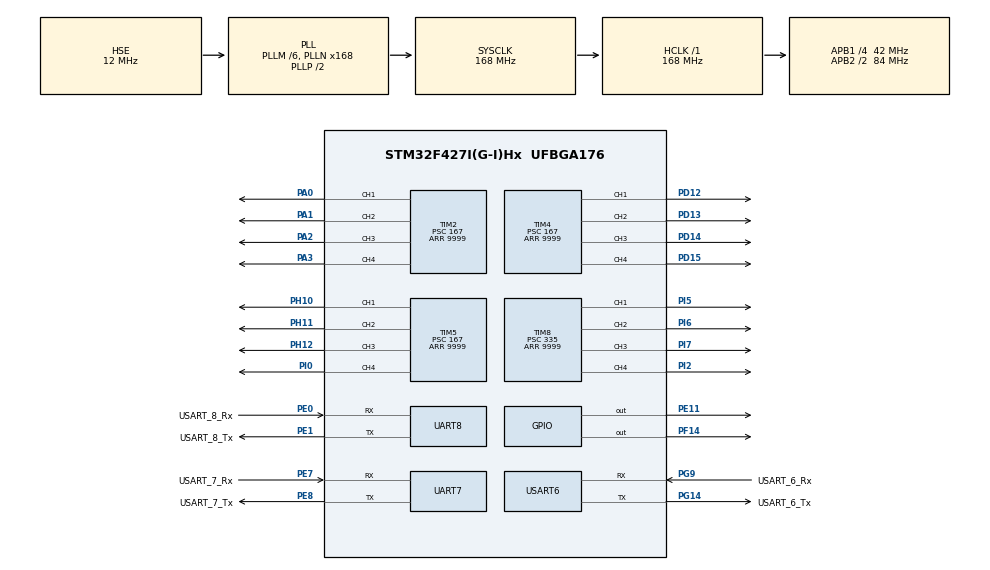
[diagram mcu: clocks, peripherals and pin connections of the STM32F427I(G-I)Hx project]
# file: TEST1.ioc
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Mcu.Family=STM32F4
Mcu.Name=STM32F427I(G-I)Hx
Mcu.Package=UFBGA176
NVIC.PriorityGroup=NVIC_PRIORITYGROUP_4
PA0/WKUP.Signal=S_TIM2_CH1_ETR
PA1.Signal=S_TIM2_CH2
PA2.Signal=S_TIM2_CH3
PA3.Signal=S_TIM2_CH4
PD12.Signal=S_TIM4_CH1
PD13.Signal=S_TIM4_CH2
PD14.Signal=S_TIM4_CH3
PD15.Signal=S_TIM4_CH4
PE0.GPIO_Label=USART_8_Rx
PE0.Mode=Asynchronous
PE0.Signal=UART8_RX
PE1.GPIO_Label=USART_8_Tx
PE1.Mode=Asynchronous
PE1.Signal=UART8_TX
PE11.Signal=GPIO_Output
PE7.GPIO_Label=USART_7_Rx
PE7.Mode=Asynchronous
PE7.Signal=UART7_RX
PE8.GPIO_Label=USART_7_Tx
PE8.Mode=Asynchronous
PE8.Signal=UART7_TX
PF14.Signal=GPIO_Output
PG14.GPIO_Label=USART_6_Tx
PG14.Mode=Asynchronous
PG14.Signal=USART6_TX
PG9.GPIO_Label=USART_6_Rx
PG9.Mode=Asynchronous
PG9.Signal=USART6_RX
PH0/OSC_IN.Mode=HSE-External-Oscillator
PH0/OSC_IN.Signal=RCC_OSC_IN
PH1/OSC_OUT.Mode=HSE-External-Oscillator
PH1/OSC_OUT.Signal=RCC_OSC_OUT
PH10.Signal=S_TIM5_CH1
PH11.Signal=S_TIM5_CH2
PH12.Signal=S_TIM5_CH3
PI0.Signal=S_TIM5_CH4
PI2.Signal=S_TIM8_CH4
PI5.Signal=S_TIM8_CH1
PI6.Signal=S_TIM8_CH2
PI7.Signal=S_TIM8_CH3
ProjectManager.HeapSize=0x200
ProjectManager.StackSize=0x400
ProjectManager.TargetToolchain=MDK-ARM V5
RCC.48MHZClocksFreq_Value=84000000
RCC.AHBFreq_Value=168000000
RCC.APB1CLKDivider=RCC_HCLK_DIV4
RCC.APB1Freq_Value=42000000
RCC.APB1TimFreq_Value=84000000
RCC.APB2CLKDivider=RCC_HCLK_DIV2
RCC.APB2Freq_Value=84000000
RCC.APB2TimFreq_Value=168000000
RCC.CortexFreq_Value=168000000
RCC.HCLKFreq_Value=168000000
RCC.HSE_VALUE=12000000
RCC.HSI_VALUE=16000000
RCC.LSE_VALUE=32768
RCC.PLLM=6
RCC.PLLN=168
RCC.PLLSourceVirtual=RCC_PLLSOURCE_HSE
RCC.SYSCLKFreq_VALUE=168000000
RCC.SYSCLKSource=RCC_SYSCLKSOURCE_PLLCLK
RCC.VCOOutputFreq_Value=336000000
SH.S_TIM2_CH1_ETR.0=TIM2_CH1,PWM Generation1 CH1
SH.S_TIM2_CH2.0=TIM2_CH2,PWM Generation2 CH2
SH.S_TIM2_CH3.0=TIM2_CH3,PWM Generation3 CH3
SH.S_TIM2_CH4.0=TIM2_CH4,PWM Generation4 CH4
SH.S_TIM4_CH1.0=TIM4_CH1,PWM Generation1 CH1
SH.S_TIM4_CH2.0=TIM4_CH2,PWM Generation2 CH2
SH.S_TIM4_CH3.0=TIM4_CH3,PWM Generation3 CH3
SH.S_TIM4_CH4.0=TIM4_CH4,PWM Generation4 CH4
SH.S_TIM5_CH1.0=TIM5_CH1,PWM Generation1 CH1
SH.S_TIM5_CH2.0=TIM5_CH2,PWM Generation2 CH2
SH.S_TIM5_CH3.0=TIM5_CH3,PWM Generation3 CH3
SH.S_TIM5_CH4.0=TIM5_CH4,PWM Generation4 CH4
SH.S_TIM8_CH1.0=TIM8_CH1,PWM Generation1 CH1
SH.S_TIM8_CH2.0=TIM8_CH2,PWM Generation2 CH2
SH.S_TIM8_CH3.0=TIM8_CH3,PWM Generation3 CH3
SH.S_TIM8_CH4.0=TIM8_CH4,PWM Generation4 CH4
TIM2.Channel-PWM\ Generation1\ CH1=TIM_CHANNEL_1
TIM2.Channel-PWM\ Generation2\ CH2=TIM_CHANNEL_2
TIM2.Channel-PWM\ Generation3\ CH3=TIM_CHANNEL_3
TIM2.Channel-PWM\ Generation4\ CH4=TIM_CHANNEL_4
TIM2.Period=9999
TIM2.Prescaler=167
TIM2.Pulse-PWM\ Generation1\ CH1=5000
TIM2.Pulse-PWM\ Generation2\ CH2=5000
TIM2.Pulse-PWM\ Generation3\ CH3=5000
TIM2.Pulse-PWM\ Generation4\ CH4=5000
TIM4.Channel-PWM\ Generation1\ CH1=TIM_CHANNEL_1
TIM4.Channel-PWM\ Generation2\ CH2=TIM_CHANNEL_2
TIM4.Channel-PWM\ Generation3\ CH3=TIM_CHANNEL_3
TIM4.Channel-PWM\ Generation4\ CH4=TIM_CHANNEL_4
TIM4.Period=9999
TIM4.Prescaler=167
TIM4.Pulse-PWM\ Generation1\ CH1=5000
TIM4.Pulse-PWM\ Generation2\ CH2=5000
TIM4.Pulse-PWM\ Generation3\ CH3=5000
TIM4.Pulse-PWM\ Generation4\ CH4=5000
TIM5.Channel-PWM\ Generation1\ CH1=TIM_CHANNEL_1
TIM5.Channel-PWM\ Generation2\ CH2=TIM_CHANNEL_2
TIM5.Channel-PWM\ Generation3\ CH3=TIM_CHANNEL_3
TIM5.Channel-PWM\ Generation4\ CH4=TIM_CHANNEL_4
TIM5.Period=9999
TIM5.Prescaler=167
TIM5.Pulse-PWM\ Generation1\ CH1=5000
TIM5.Pulse-PWM\ Generation2\ CH2=5000
TIM5.Pulse-PWM\ Generation3\ CH3=5000
TIM5.Pulse-PWM\ Generation4\ CH4=5000
TIM8.Channel-PWM\ Generation1\ CH1=TIM_CHANNEL_1
TIM8.Channel-PWM\ Generation2\ CH2=TIM_CHANNEL_2
TIM8.Channel-PWM\ Generation3\ CH3=TIM_CHANNEL_3
TIM8.Channel-PWM\ Generation4\ CH4=TIM_CHANNEL_4
TIM8.OCPolarity_1=TIM_OCPOLARITY_LOW
TIM8.OCPolarity_2=TIM_OCPOLARITY_LOW
TIM8.OCPolarity_3=TIM_OCPOLARITY_LOW
TIM8.OCPolarity_4=TIM_OCPOLARITY_LOW
TIM8.Period=9999
TIM8.Prescaler=335
TIM8.Pulse-PWM\ Generation1\ CH1=5000
TIM8.Pulse-PWM\ Generation2\ CH2=5000
TIM8.Pulse-PWM\ Generation3\ CH3=5000
TIM8.Pulse-PWM\ Generation4\ CH4=5000
UART7.VirtualMode=Asynchronous
UART8.VirtualMode=Asynchronous
USART6.VirtualMode=VM_ASYNC
board=custom

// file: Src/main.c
/* USER CODE BEGIN Header */
/**
  ******************************************************************************
  * @file           : main.c
  * @brief          : Main program body
  ******************************************************************************
  ** This notice applies to any and all portions of this file
  * that are not between comment pairs USER CODE BEGIN and
  * USER CODE END. Other portions of this file, whether
  * inserted by the user or by software development tools
  * are owned by their respective copyright owners.
  *
  * COPYRIGHT(c) 2018 STMicroelectronics
  *
  * Redistribution and use in source and binary forms, with or without modification,
  * are permitted provided that the following conditions are met:
  *   1. Redistributions of source code must retain the above copyright notice,
  *      this list of conditions and the following disclaimer.
  *   2. Redistributions in binary form must reproduce the above copyright notice,
  *      this list of conditions and the following disclaimer in the documentation
  *      and/or other materials provided with the distribution.
  *   3. Neither the name of STMicroelectronics nor the names of its contributors
  *      may be used to endorse or promote products derived from this software
  *      without specific prior written permission.
  *
  * THIS SOFTWARE IS PROVIDED BY THE COPYRIGHT HOLDERS AND CONTRIBUTORS "AS IS"
  * AND ANY EXPRESS OR IMPLIED WARRANTIES, INCLUDING, BUT NOT LIMITED TO, THE
  * IMPLIED WARRANTIES OF MERCHANTABILITY AND FITNESS FOR A PARTICULAR PURPOSE ARE
  * DISCLAIMED. IN NO EVENT SHALL THE COPYRIGHT HOLDER OR CONTRIBUTORS BE LIABLE
  * FOR ANY DIRECT, INDIRECT, INCIDENTAL, SPECIAL, EXEMPLARY, OR CONSEQUENTIAL
  * DAMAGES (INCLUDING, BUT NOT LIMITED TO, PROCUREMENT OF SUBSTITUTE GOODS OR
  * SERVICES; LOSS OF USE, DATA, OR PROFITS; OR BUSINESS INTERRUPTION) HOWEVER
  * CAUSED AND ON ANY THEORY OF LIABILITY, WHETHER IN CONTRACT, STRICT LIABILITY,
  * OR TORT (INCLUDING NEGLIGENCE OR OTHERWISE) ARISING IN ANY WAY OUT OF THE USE
  * OF THIS SOFTWARE, EVEN IF ADVISED OF THE POSSIBILITY OF SUCH DAMAGE.
  *
  ******************************************************************************
  */
/* USER CODE END Header */

#include "main.h"

TIM_HandleTypeDef htim2;
TIM_HandleTypeDef htim4;
TIM_HandleTypeDef htim5;
TIM_HandleTypeDef htim8;

UART_HandleTypeDef huart7;
UART_HandleTypeDef huart8;
UART_HandleTypeDef huart6;

void SystemClock_Config(void);
static void MX_GPIO_Init(void);
static void MX_TIM2_Init(void);
static void MX_TIM4_Init(void);
static void MX_TIM5_Init(void);
static void MX_TIM8_Init(void);
static void MX_USART6_UART_Init(void);
static void MX_UART8_Init(void);
static void MX_UART7_Init(void);

/* USER CODE BEGIN 0 */
void PWM_SetDuty(TIM_HandleTypeDef *tim,uint32_t tim_channel,float duty){

	switch(tim_channel){
		case TIM_CHANNEL_1: tim->Instance->CCR1 = (10000*duty) - 1;break;
		case TIM_CHANNEL_2: tim->Instance->CCR2 = (10000*duty) - 1;break;
		case TIM_CHANNEL_3: tim->Instance->CCR3 = (10000*duty) - 1;break;
		case TIM_CHANNEL_4: tim->Instance->CCR4 = (10000*duty) - 1;break;
	}}

/* USER CODE END 0 */

int main(void)
{

  /* MCU Configuration--------------------------------------------------------*/

  /* Reset of all peripherals, Initializes the Flash interface and the Systick. */
  HAL_Init();

  /* Configure the system clock */
  SystemClock_Config();

  /* Initialize all configured peripherals */
  MX_GPIO_Init();
  MX_TIM2_Init();
  MX_TIM4_Init();
  MX_TIM5_Init();
  MX_TIM8_Init();
  MX_USART6_UART_Init();
  MX_UART8_Init();
  MX_UART7_Init();
  /* USER CODE BEGIN 2 */

	/* Open 4 sets of PWM waves respectively */
		/**TIM2 GPIO Configuration
	PA1     ------> TIM2_CH2
	PA0     ------> TIM2_CH1
	PA2     ------> TIM2_CH3
	PA3     ------> TIM2_CH4
	*/

	HAL_TIM_PWM_Start(&htim2,TIM_CHANNEL_1);
	HAL_TIM_PWM_Start(&htim2,TIM_CHANNEL_2);
	HAL_TIM_PWM_Start(&htim2,TIM_CHANNEL_3);
	HAL_TIM_PWM_Start(&htim2,TIM_CHANNEL_4);

	PWM_SetDuty(&htim2,TIM_CHANNEL_1,0.50);
	PWM_SetDuty(&htim2,TIM_CHANNEL_2,0.50);
	PWM_SetDuty(&htim2,TIM_CHANNEL_3,0.50);
	PWM_SetDuty(&htim2,TIM_CHANNEL_4,0.50);

	/**TIM4 GPIO Configuration
	PD15     ------> TIM4_CH4
	PD14     ------> TIM4_CH3
	PD13     ------> TIM4_CH2
	PD12     ------> TIM4_CH1
	*/
	HAL_TIM_PWM_Start(&htim4,TIM_CHANNEL_1);
	HAL_TIM_PWM_Start(&htim4,TIM_CHANNEL_2);
	HAL_TIM_PWM_Start(&htim4,TIM_CHANNEL_3);
	HAL_TIM_PWM_Start(&htim4,TIM_CHANNEL_4);

	PWM_SetDuty(&htim4,TIM_CHANNEL_1,0.50);
	PWM_SetDuty(&htim4,TIM_CHANNEL_2,0.50);
	PWM_SetDuty(&htim4,TIM_CHANNEL_3,0.50);
	PWM_SetDuty(&htim4,TIM_CHANNEL_4,0.50);

	/**TIM5 GPIO Configuration
	PI0     ------> TIM5_CH4
	PH12     ------> TIM5_CH3
	PH11     ------> TIM5_CH2
	PH10     ------> TIM5_CH1
	*/

	HAL_TIM_PWM_Start(&htim5,TIM_CHANNEL_1);
	HAL_TIM_PWM_Start(&htim5,TIM_CHANNEL_2);
	HAL_TIM_PWM_Start(&htim5,TIM_CHANNEL_3);
	HAL_TIM_PWM_Start(&htim5,TIM_CHANNEL_4);

	PWM_SetDuty(&htim5,TIM_CHANNEL_1,0.50);
	PWM_SetDuty(&htim5,TIM_CHANNEL_2,0.50);
	PWM_SetDuty(&htim5,TIM_CHANNEL_3,0.50);
	PWM_SetDuty(&htim5,TIM_CHANNEL_4,0.50);

	/**TIM8 GPIO Configuration
	PI7     ------> TIM8_CH3
	PI6     ------> TIM8_CH2
	PI5     ------> TIM8_CH1
	PI2     ------> TIM8_CH4
	*/

	HAL_TIM_PWM_Start(&htim8,TIM_CHANNEL_1);
	HAL_TIM_PWM_Start(&htim8,TIM_CHANNEL_2);
	HAL_TIM_PWM_Start(&htim8,TIM_CHANNEL_3);
	HAL_TIM_PWM_Start(&htim8,TIM_CHANNEL_4);

	PWM_SetDuty(&htim8,TIM_CHANNEL_1,0.50);
	PWM_SetDuty(&htim8,TIM_CHANNEL_2,0.50);
	PWM_SetDuty(&htim8,TIM_CHANNEL_3,0.50);
	PWM_SetDuty(&htim8,TIM_CHANNEL_4,0.0);

//	char w = 13;

//
//	HAL_TIM_PWM_Start(&htim2,TIM_CHANNEL_1);
//	HAL_TIM_PWM_Start(&htim2,TIM_CHANNEL_2);
//	HAL_TIM_PWM_Start(&htim2,TIM_CHANNEL_3);
//	HAL_TIM_PWM_Start(&htim2,TIM_CHANNEL_4);
//

  /* USER CODE END 2 */

  /* Infinite loop */
  while (1)
	{

    /* USER CODE BEGIN 3 */

		uint8_t Re[16];
		HAL_UART_Receive(&huart8, Re, 16, 0xffff);                  //串口8获取Openmv角度数据
		uint8_t *p = Re;

/*     **********                        字符串解析                        **********     */

		float angle = 0.0;    //初始化角度
		while ( *p != '#' )                                                    //找到第一个#
			p++;
		p++;

		while ( *p != '.' )                                                    //跳过小数点
			{
				angle = angle*10 + *p - '0';                                   //整数位累加
				p++;
			}
		p++;
		float power = 0.1;                                                     //小数位累加
		while ( *p != '#' )                                                    //找到$的时候停止
		{
			angle = angle + ( *p - '0' ) * power ;
			p++;
			power = power *0.1f;
		}

		sprintf(buf,"%9.6f\n", angle);                                          //格式化输出
		HAL_UART_Transmit(&huart7, (uint8_t *)buf,  9, 0xffff);                 //串口7发送数据

/***************************                                       字符串解析完毕                                       ***************************/

//

  }
  /* USER CODE END 3 */
}

void SystemClock_Config(void)
{
  RCC_OscInitTypeDef RCC_OscInitStruct = {0};
  RCC_ClkInitTypeDef RCC_ClkInitStruct = {0};

  /**Configure the main internal regulator output voltage
  */
  __HAL_RCC_PWR_CLK_ENABLE();
  __HAL_PWR_VOLTAGESCALING_CONFIG(PWR_REGULATOR_VOLTAGE_SCALE1);
  /**Initializes the CPU, AHB and APB busses clocks
  */
  RCC_OscInitStruct.OscillatorType = RCC_OSCILLATORTYPE_HSE;
  RCC_OscInitStruct.HSEState = RCC_HSE_ON;
  RCC_OscInitStruct.PLL.PLLState = RCC_PLL_ON;
  RCC_OscInitStruct.PLL.PLLSource = RCC_PLLSOURCE_HSE;
  RCC_OscInitStruct.PLL.PLLM = 6;
  RCC_OscInitStruct.PLL.PLLN = 168;
  RCC_OscInitStruct.PLL.PLLP = RCC_PLLP_DIV2;
  RCC_OscInitStruct.PLL.PLLQ = 4;
  if (HAL_RCC_OscConfig(&RCC_OscInitStruct) != HAL_OK)
  {
    Error_Handler();
  }
  /**Initializes the CPU, AHB and APB busses clocks
  */
  RCC_ClkInitStruct.ClockType = RCC_CLOCKTYPE_HCLK|RCC_CLOCKTYPE_SYSCLK
                              |RCC_CLOCKTYPE_PCLK1|RCC_CLOCKTYPE_PCLK2;
  RCC_ClkInitStruct.SYSCLKSource = RCC_SYSCLKSOURCE_PLLCLK;
  RCC_ClkInitStruct.AHBCLKDivider = RCC_SYSCLK_DIV1;
  RCC_ClkInitStruct.APB1CLKDivider = RCC_HCLK_DIV4;
  RCC_ClkInitStruct.APB2CLKDivider = RCC_HCLK_DIV2;

  if (HAL_RCC_ClockConfig(&RCC_ClkInitStruct, FLASH_LATENCY_5) != HAL_OK)
  {
    Error_Handler();
  }
}

static void MX_TIM2_Init(void)
{

  TIM_MasterConfigTypeDef sMasterConfig = {0};
  TIM_OC_InitTypeDef sConfigOC = {0};

  htim2.Instance = TIM2;
  htim2.Init.Prescaler = 167;
  htim2.Init.CounterMode = TIM_COUNTERMODE_UP;
  htim2.Init.Period = 9999;
  htim2.Init.ClockDivision = TIM_CLOCKDIVISION_DIV1;
  if (HAL_TIM_PWM_Init(&htim2) != HAL_OK)
  {
    Error_Handler();
  }
  sMasterConfig.MasterOutputTrigger = TIM_TRGO_RESET;
  sMasterConfig.MasterSlaveMode = TIM_MASTERSLAVEMODE_DISABLE;
  if (HAL_TIMEx_MasterConfigSynchronization(&htim2, &sMasterConfig) != HAL_OK)
  {
    Error_Handler();
  }
  sConfigOC.OCMode = TIM_OCMODE_PWM1;
  sConfigOC.Pulse = 5000;
  sConfigOC.OCPolarity = TIM_OCPOLARITY_HIGH;
  sConfigOC.OCFastMode = TIM_OCFAST_DISABLE;
  if (HAL_TIM_PWM_ConfigChannel(&htim2, &sConfigOC, TIM_CHANNEL_1) != HAL_OK)
  {
    Error_Handler();
  }
  if (HAL_TIM_PWM_ConfigChannel(&htim2, &sConfigOC, TIM_CHANNEL_2) != HAL_OK)
  {
    Error_Handler();
  }
  if (HAL_TIM_PWM_ConfigChannel(&htim2, &sConfigOC, TIM_CHANNEL_3) != HAL_OK)
  {
    Error_Handler();
  }
  if (HAL_TIM_PWM_ConfigChannel(&htim2, &sConfigOC, TIM_CHANNEL_4) != HAL_OK)
  {
    Error_Handler();
  }
  HAL_TIM_MspPostInit(&htim2);

}

static void MX_TIM4_Init(void)
{

  TIM_MasterConfigTypeDef sMasterConfig = {0};
  TIM_OC_InitTypeDef sConfigOC = {0};

  htim4.Instance = TIM4;
  htim4.Init.Prescaler = 167;
  htim4.Init.CounterMode = TIM_COUNTERMODE_UP;
  htim4.Init.Period = 9999;
  htim4.Init.ClockDivision = TIM_CLOCKDIVISION_DIV1;
  if (HAL_TIM_PWM_Init(&htim4) != HAL_OK)
  {
    Error_Handler();
  }
  sMasterConfig.MasterOutputTrigger = TIM_TRGO_RESET;
  sMasterConfig.MasterSlaveMode = TIM_MASTERSLAVEMODE_DISABLE;
  if (HAL_TIMEx_MasterConfigSynchronization(&htim4, &sMasterConfig) != HAL_OK)
  {
    Error_Handler();
  }
  sConfigOC.OCMode = TIM_OCMODE_PWM1;
  sConfigOC.Pulse = 5000;
  sConfigOC.OCPolarity = TIM_OCPOLARITY_HIGH;
  sConfigOC.OCFastMode = TIM_OCFAST_DISABLE;
  if (HAL_TIM_PWM_ConfigChannel(&htim4, &sConfigOC, TIM_CHANNEL_1) != HAL_OK)
  {
    Error_Handler();
  }
  if (HAL_TIM_PWM_ConfigChannel(&htim4, &sConfigOC, TIM_CHANNEL_2) != HAL_OK)
  {
    Error_Handler();
  }
  if (HAL_TIM_PWM_ConfigChannel(&htim4, &sConfigOC, TIM_CHANNEL_3) != HAL_OK)
  {
    Error_Handler();
  }
  if (HAL_TIM_PWM_ConfigChannel(&htim4, &sConfigOC, TIM_CHANNEL_4) != HAL_OK)
  {
    Error_Handler();
  }
  HAL_TIM_MspPostInit(&htim4);

}

static void MX_TIM5_Init(void)
{

  TIM_MasterConfigTypeDef sMasterConfig = {0};
  TIM_OC_InitTypeDef sConfigOC = {0};

  htim5.Instance = TIM5;
  htim5.Init.Prescaler = 167;
  htim5.Init.CounterMode = TIM_COUNTERMODE_UP;
  htim5.Init.Period = 9999;
  htim5.Init.ClockDivision = TIM_CLOCKDIVISION_DIV1;
  if (HAL_TIM_PWM_Init(&htim5) != HAL_OK)
  {
    Error_Handler();
  }
  sMasterConfig.MasterOutputTrigger = TIM_TRGO_RESET;
  sMasterConfig.MasterSlaveMode = TIM_MASTERSLAVEMODE_DISABLE;
  if (HAL_TIMEx_MasterConfigSynchronization(&htim5, &sMasterConfig) != HAL_OK)
  {
    Error_Handler();
  }
  sConfigOC.OCMode = TIM_OCMODE_PWM1;
  sConfigOC.Pulse = 5000;
  sConfigOC.OCPolarity = TIM_OCPOLARITY_HIGH;
  sConfigOC.OCFastMode = TIM_OCFAST_DISABLE;
  if (HAL_TIM_PWM_ConfigChannel(&htim5, &sConfigOC, TIM_CHANNEL_1) != HAL_OK)
  {
    Error_Handler();
  }
  if (HAL_TIM_PWM_ConfigChannel(&htim5, &sConfigOC, TIM_CHANNEL_2) != HAL_OK)
  {
    Error_Handler();
  }
  if (HAL_TIM_PWM_ConfigChannel(&htim5, &sConfigOC, TIM_CHANNEL_3) != HAL_OK)
  {
    Error_Handler();
  }
  if (HAL_TIM_PWM_ConfigChannel(&htim5, &sConfigOC, TIM_CHANNEL_4) != HAL_OK)
  {
    Error_Handler();
  }
  HAL_TIM_MspPostInit(&htim5);

}

static void MX_TIM8_Init(void)
{

  TIM_MasterConfigTypeDef sMasterConfig = {0};
  TIM_OC_InitTypeDef sConfigOC = {0};
  TIM_BreakDeadTimeConfigTypeDef sBreakDeadTimeConfig = {0};

  htim8.Instance = TIM8;
  htim8.Init.Prescaler = 335;
  htim8.Init.CounterMode = TIM_COUNTERMODE_UP;
  htim8.Init.Period = 9999;
  htim8.Init.ClockDivision = TIM_CLOCKDIVISION_DIV1;
  htim8.Init.RepetitionCounter = 0;
  if (HAL_TIM_PWM_Init(&htim8) != HAL_OK)
  {
    Error_Handler();
  }
  sMasterConfig.MasterOutputTrigger = TIM_TRGO_RESET;
  sMasterConfig.MasterSlaveMode = TIM_MASTERSLAVEMODE_DISABLE;
  if (HAL_TIMEx_MasterConfigSynchronization(&htim8, &sMasterConfig) != HAL_OK)
  {
    Error_Handler();
  }
  sConfigOC.OCMode = TIM_OCMODE_PWM1;
  sConfigOC.Pulse = 5000;
  sConfigOC.OCPolarity = TIM_OCPOLARITY_LOW;
  sConfigOC.OCNPolarity = TIM_OCNPOLARITY_HIGH;
  sConfigOC.OCFastMode = TIM_OCFAST_DISABLE;
  sConfigOC.OCIdleState = TIM_OCIDLESTATE_RESET;
  sConfigOC.OCNIdleState = TIM_OCNIDLESTATE_RESET;
  if (HAL_TIM_PWM_ConfigChannel(&htim8, &sConfigOC, TIM_CHANNEL_1) != HAL_OK)
  {
    Error_Handler();
  }
  if (HAL_TIM_PWM_ConfigChannel(&htim8, &sConfigOC, TIM_CHANNEL_2) != HAL_OK)
  {
    Error_Handler();
  }
  if (HAL_TIM_PWM_ConfigChannel(&htim8, &sConfigOC, TIM_CHANNEL_3) != HAL_OK)
  {
    Error_Handler();
  }
  if (HAL_TIM_PWM_ConfigChannel(&htim8, &sConfigOC, TIM_CHANNEL_4) != HAL_OK)
  {
    Error_Handler();
  }
  sBreakDeadTimeConfig.OffStateRunMode = TIM_OSSR_DISABLE;
  sBreakDeadTimeConfig.OffStateIDLEMode = TIM_OSSI_DISABLE;
  sBreakDeadTimeConfig.LockLevel = TIM_LOCKLEVEL_OFF;
  sBreakDeadTimeConfig.DeadTime = 0;
  sBreakDeadTimeConfig.BreakState = TIM_BREAK_DISABLE;
  sBreakDeadTimeConfig.BreakPolarity = TIM_BREAKPOLARITY_HIGH;
  sBreakDeadTimeConfig.AutomaticOutput = TIM_AUTOMATICOUTPUT_DISABLE;
  if (HAL_TIMEx_ConfigBreakDeadTime(&htim8, &sBreakDeadTimeConfig) != HAL_OK)
  {
    Error_Handler();
  }
  HAL_TIM_MspPostInit(&htim8);

}

static void MX_UART7_Init(void)
{

  huart7.Instance = UART7;
  huart7.Init.BaudRate = 115200;
  huart7.Init.WordLength = UART_WORDLENGTH_8B;
  huart7.Init.StopBits = UART_STOPBITS_1;
  huart7.Init.Parity = UART_PARITY_NONE;
  huart7.Init.Mode = UART_MODE_TX_RX;
  huart7.Init.HwFlowCtl = UART_HWCONTROL_NONE;
  huart7.Init.OverSampling = UART_OVERSAMPLING_16;
  if (HAL_UART_Init(&huart7) != HAL_OK)
  {
    Error_Handler();
  }

}

static void MX_UART8_Init(void)
{

  huart8.Instance = UART8;
  huart8.Init.BaudRate = 115200;
  huart8.Init.WordLength = UART_WORDLENGTH_8B;
  huart8.Init.StopBits = UART_STOPBITS_1;
  huart8.Init.Parity = UART_PARITY_NONE;
  huart8.Init.Mode = UART_MODE_TX_RX;
  huart8.Init.HwFlowCtl = UART_HWCONTROL_NONE;
  huart8.Init.OverSampling = UART_OVERSAMPLING_16;
  if (HAL_UART_Init(&huart8) != HAL_OK)
  {
    Error_Handler();
  }

}

static void MX_USART6_UART_Init(void)
{

  huart6.Instance = USART6;
  huart6.Init.BaudRate = 115200;
  huart6.Init.WordLength = UART_WORDLENGTH_8B;
  huart6.Init.StopBits = UART_STOPBITS_1;
  huart6.Init.Parity = UART_PARITY_NONE;
  huart6.Init.Mode = UART_MODE_TX_RX;
  huart6.Init.HwFlowCtl = UART_HWCONTROL_NONE;
  huart6.Init.OverSampling = UART_OVERSAMPLING_16;
  if (HAL_UART_Init(&huart6) != HAL_OK)
  {
    Error_Handler();
  }

}

static void MX_GPIO_Init(void)
{
  GPIO_InitTypeDef GPIO_InitStruct = {0};

  /* GPIO Ports Clock Enable */
  __HAL_RCC_GPIOE_CLK_ENABLE();
  __HAL_RCC_GPIOG_CLK_ENABLE();
  __HAL_RCC_GPIOI_CLK_ENABLE();
  __HAL_RCC_GPIOH_CLK_ENABLE();
  __HAL_RCC_GPIOD_CLK_ENABLE();
  __HAL_RCC_GPIOA_CLK_ENABLE();
  __HAL_RCC_GPIOF_CLK_ENABLE();

  /*Configure GPIO pin Output Level */
  HAL_GPIO_WritePin(GPIOE, GPIO_PIN_11, GPIO_PIN_RESET);

  /*Configure GPIO pin Output Level */
  HAL_GPIO_WritePin(GPIOF, GPIO_PIN_14, GPIO_PIN_RESET);

  /*Configure GPIO pin : PE11 */
  GPIO_InitStruct.Pin = GPIO_PIN_11;
  GPIO_InitStruct.Mode = GPIO_MODE_OUTPUT_PP;
  GPIO_InitStruct.Pull = GPIO_NOPULL;
  GPIO_InitStruct.Speed = GPIO_SPEED_FREQ_LOW;
  HAL_GPIO_Init(GPIOE, &GPIO_InitStruct);

  /*Configure GPIO pin : PF14 */
  GPIO_InitStruct.Pin = GPIO_PIN_14;
  GPIO_InitStruct.Mode = GPIO_MODE_OUTPUT_PP;
  GPIO_InitStruct.Pull = GPIO_NOPULL;
  GPIO_InitStruct.Speed = GPIO_SPEED_FREQ_LOW;
  HAL_GPIO_Init(GPIOF, &GPIO_InitStruct);

}

void Error_Handler(void)
{
}

/************************ (C) COPYRIGHT STMicroelectronics *****END OF FILE****/
